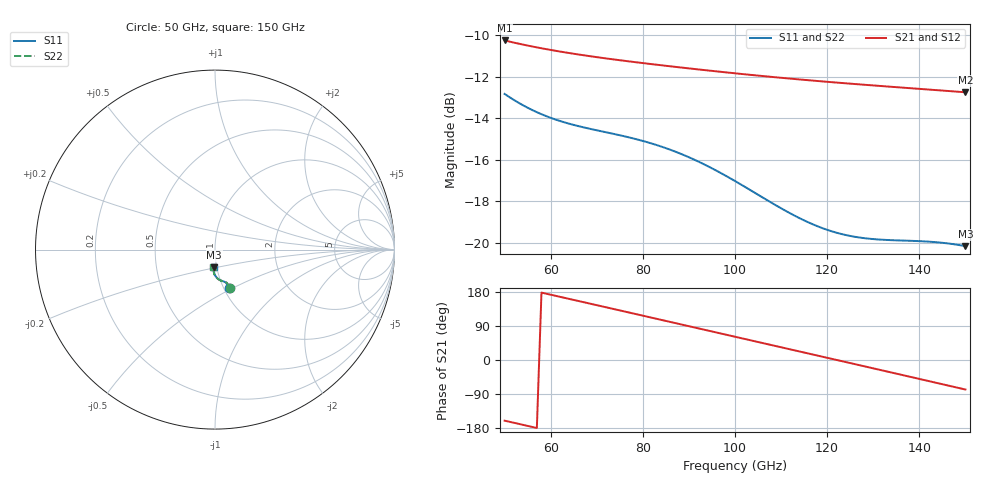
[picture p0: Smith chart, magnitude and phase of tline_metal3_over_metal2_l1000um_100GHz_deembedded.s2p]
! Created with skrf 2.0.1 (http://scikit-rf.org).
# GHz S DB R 50.0
!freq dBS11 angS11 dBS21 angS21 dBS12 angS12 dBS22 angS22
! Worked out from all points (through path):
!   101 points, 50 GHz to 150 GHz, reference 50 ohm
!   highest |S21| = -10.26 dB at 50 GHz (marker M1); lowest = -12.8 dB at 150 GHz (marker M2)
!   group delay of S21, straight-line fit = 7.72 ps
!   lowest |S11| = -20.1 dB at 150 GHz (marker M3), VSWR 1.22, Z = 48.5 - j9.62 ohm
!   |S11| at or under -10 dB: start of sweep to end of sweep
!   |S22| runs from -20.2 to -12.8 dB; largest |S21 - S12| = 2.7e-13
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50  -12.83 -70.0  -10.26 -160.1  -10.26 -160.1  -12.83 -68.8
54  -13.38 -70.6  -10.46 -171.2  -10.46 -171.2  -13.36 -69.3
58  -13.80 -71.0  -10.63 177.8  -10.63 177.8  -13.77 -69.7
62  -14.13 -71.5  -10.79 166.8  -10.79 166.8  -14.07 -70.3
67  -14.43 -72.7  -10.97 153.0  -10.97 153.0  -14.34 -71.5
72  -14.67 -74.5  -11.12 139.2  -11.12 139.2  -14.57 -73.5
76  -14.87 -76.4  -11.24 128.1  -11.24 128.1  -14.75 -75.5
80  -15.09 -78.7  -11.35 117.0  -11.35 117.0  -14.97 -78.0
84  -15.36 -81.2  -11.45 105.9  -11.45 105.9  -15.24 -80.6
88  -15.69 -83.7  -11.55 94.8  -11.55 94.8  -15.56 -83.3
92  -16.08 -86.2  -11.65 83.6  -11.65 83.6  -15.95 -86.0
96  -16.52 -88.4  -11.75 72.5  -11.75 72.5  -16.40 -88.4
100  -17.02 -90.2  -11.84 61.4  -11.84 61.4  -16.90 -90.4
105  -17.67 -91.8  -11.95 47.5  -11.95 47.5  -17.57 -92.3
109  -18.20 -92.4  -12.03 36.4  -12.03 36.4  -18.11 -93.1
117  -19.11 -91.8  -12.19 14.2  -12.19 14.2  -19.06 -93.1
121  -19.43 -91.0  -12.26 3.0  -12.26 3.0  -19.41 -92.5
125  -19.66 -90.1  -12.34 -8.1  -12.34 -8.1  -19.65 -91.8
129  -19.79 -89.4  -12.40 -19.2  -12.40 -19.2  -19.80 -91.3
134  -19.86 -89.2  -12.49 -33.2  -12.49 -33.2  -19.90 -91.3
142  -19.93 -90.4  -12.62 -55.5  -12.62 -55.5  -19.99 -93.1
150  -20.15 -93.1  -12.75 -77.9  -12.75 -77.9  -20.22 -96.6
